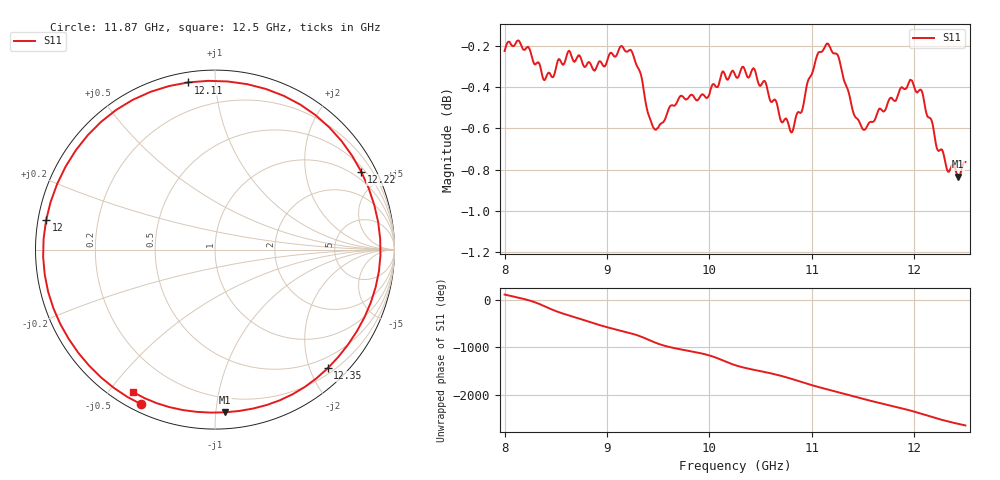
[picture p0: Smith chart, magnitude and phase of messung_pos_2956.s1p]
#  HZ  S  RI  R  50.00
! Rohde & Schwarz Vector Network Analyzer
! Rohde-Schwarz,ZNA43-4Port,1332450044101932,2.92
! Created: UTC 6/1/2026, 11:34:58 AM
! freq[Hz]  re:S11  im:S11
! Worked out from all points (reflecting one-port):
!   451 points, 8 GHz to 12.5 GHz, reference 50 ohm
!   lowest |S11| = -0.8 dB at 12.43 GHz (marker M1), VSWR 20.83, Z = 5.1 - j52.9 ohm
!   phase of S11 starts at 106 deg and turns -2746 deg over the sweep
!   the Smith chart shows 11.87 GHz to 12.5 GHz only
!   S11 on the Smith chart (normalised r, x): 11.87 GHz: 0.03, -0.63; 12 GHz: 0.02, +0.09; 12.11 GHz: 0.05, +0.85; 12.22 GHz: 0.67, +3.91; 12.35 GHz: 0.29, -2.30; 12.5 GHz: 0.06, -0.58
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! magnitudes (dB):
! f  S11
! 8 GHz  -0.2
! 8.23 GHz  -0.2
! 8.39 GHz  -0.4
! 8.57 GHz  -0.3
! 8.63 GHz  -0.2
! 8.88 GHz  -0.3
! 9.13 GHz  -0.2
! 9.25 GHz  -0.2
! 9.46 GHz  -0.6
! 9.69 GHz  -0.5
! 9.98 GHz  -0.5
! 10.25 GHz  -0.3
! 10.43 GHz  -0.3
! 10.7 GHz  -0.6
! 10.82 GHz  -0.6
! 11.05 GHz  -0.2
! 11.15 GHz  -0.2
! 11.26 GHz  -0.3
! 11.38 GHz  -0.5
! 11.51 GHz  -0.6
! 11.87 GHz  -0.4
! 11.94 GHz  -0.4
! 12 GHz  -0.4
! 12.11 GHz  -0.5
! 12.22 GHz  -0.7
! 12.35 GHz  -0.8
! 12.43 GHz  -0.8
! 12.5 GHz  -0.8
